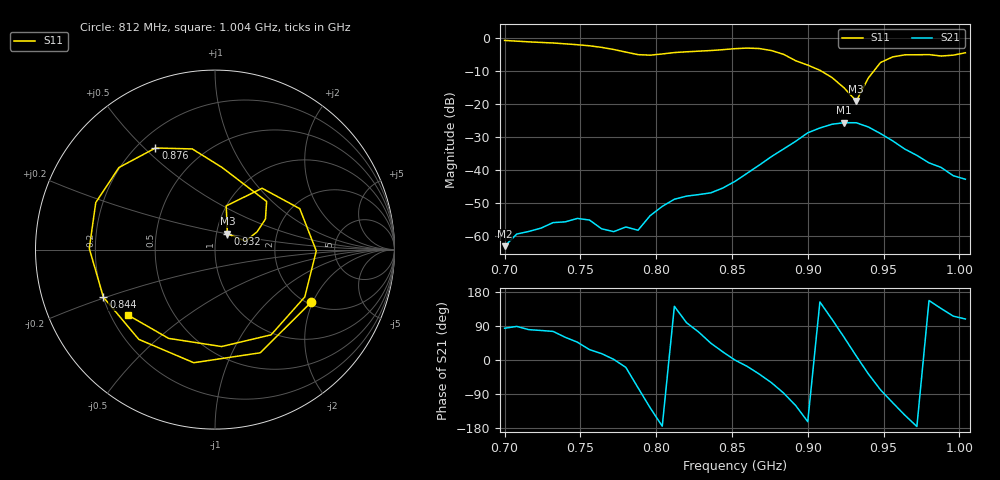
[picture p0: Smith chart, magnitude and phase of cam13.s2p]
# Hz S RI R 50
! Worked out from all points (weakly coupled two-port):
!   39 points, 700 MHz to 1.004 GHz, reference 50 ohm
!   highest |S21| = -25.62 dB at 924 MHz (marker M1); lowest = -63.2 dB at 700 MHz (marker M2)
!   lowest |S11| = -19.0 dB at 932 MHz (marker M3), VSWR 1.25, Z = 56.5 + j10.1 ohm
!   |S11| at or under -10 dB: 909.2 MHz to 943.4 MHz (34.2 MHz wide, 3.69 % of centre)
!   S12 and S22 are empty: the file has one direction only
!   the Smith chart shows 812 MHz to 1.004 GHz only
!   S11 on the Smith chart (normalised r, x): 812 MHz: 2.08, -1.95; 844 MHz: 0.20, -0.20; 876 MHz: 0.27, +0.54; 932 MHz: 1.13, +0.20; 1.004 GHz: 0.27, -0.31
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7e8  0.7652 0.5346  7.46e-05 0.000689  0 0  0 0
7.24e8  0.8318 -0.2568  0.000273 0.00127  0 0  0 0
7.4e8  0.4452 -0.6999  0.000813 0.00141  0 0  0 0
7.56e8  -0.1946 -0.7493  0.00154 0.000797  0 0  0 0
7.72e8  -0.6529 -0.1911  0.00115 3.27e-05  0 0  0 0
7.8e8  -0.5763 0.2305  0.00128 -0.000456  0 0  0 0
7.88e8  -0.2237 0.5225  0.000353 -0.00116  0 0  0 0
7.96e8  0.2532 0.4965  -0.00118 -0.00163  0 0  0 0
8.04e8  0.5631 0.1463  -0.00278 -0.000257  0 0  0 0
8.12e8  0.536 -0.2931  -0.00281 0.00222  0 0  0 0
8.28e8  -0.1182 -0.6303  0.00117 0.00405  0 0  0 0
8.44e8  -0.6218 -0.2651  0.00495 0.00193  0 0  0 0
8.52e8  -0.7004 0.00613  0.00671 -2.44e-05  0 0  0 0
8.76e8  -0.3315 0.5661  0.00804 -0.0138  0 0  0 0
9e8  0.2876 0.2682  -0.0351 -0.0109  0 0  0 0
9.08e8  0.2811 0.1703  -0.0388 0.0197  0 0  0 0
9.24e8  0.1705 0.0478  0.0263 0.0453  0 0  0 0
9.32e8  0.0692 0.0879  0.0514 0.00953  0 0  0 0
9.48e8  0.2623 0.3418  0.007 -0.0351  0 0  0 0
9.56e8  0.4723 0.2281  -0.0106 -0.0256  0 0  0 0
9.8e8  0.3124 -0.4749  -0.0118 0.00501  0 0  0 0
1.004e9  -0.4838 -0.3654  -0.00226 0.00687  0 0  0 0
